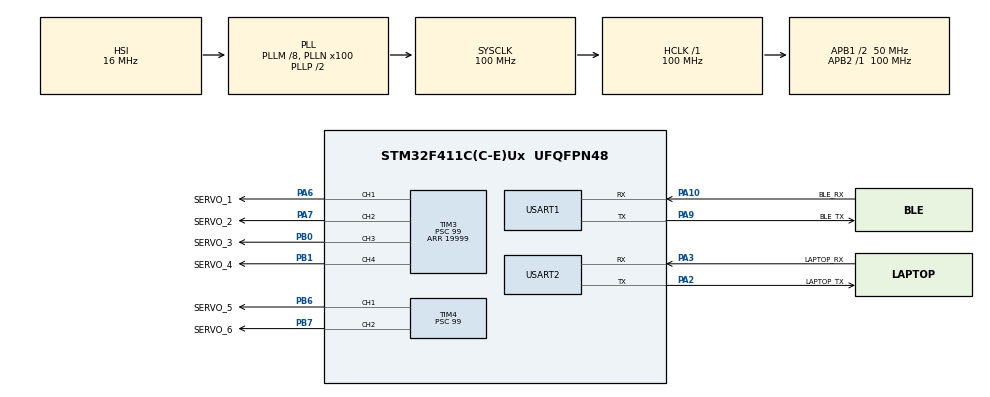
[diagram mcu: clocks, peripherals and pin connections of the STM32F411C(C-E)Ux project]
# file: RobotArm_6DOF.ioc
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Dma.Request0=USART2_RX
Dma.Request1=USART1_RX
Dma.USART1_RX.1.Direction=DMA_PERIPH_TO_MEMORY
Dma.USART1_RX.1.FIFOMode=DMA_FIFOMODE_DISABLE
Dma.USART1_RX.1.Instance=DMA2_Stream2
Dma.USART1_RX.1.MemDataAlignment=DMA_MDATAALIGN_BYTE
Dma.USART1_RX.1.MemInc=DMA_MINC_ENABLE
Dma.USART1_RX.1.Mode=DMA_CIRCULAR
Dma.USART1_RX.1.PeriphDataAlignment=DMA_PDATAALIGN_BYTE
Dma.USART1_RX.1.PeriphInc=DMA_PINC_DISABLE
Dma.USART1_RX.1.Priority=DMA_PRIORITY_HIGH
Dma.USART2_RX.0.Direction=DMA_PERIPH_TO_MEMORY
Dma.USART2_RX.0.FIFOMode=DMA_FIFOMODE_DISABLE
Dma.USART2_RX.0.Instance=DMA1_Stream5
Dma.USART2_RX.0.MemDataAlignment=DMA_MDATAALIGN_BYTE
Dma.USART2_RX.0.MemInc=DMA_MINC_ENABLE
Dma.USART2_RX.0.Mode=DMA_CIRCULAR
Dma.USART2_RX.0.PeriphDataAlignment=DMA_PDATAALIGN_BYTE
Dma.USART2_RX.0.PeriphInc=DMA_PINC_DISABLE
Dma.USART2_RX.0.Priority=DMA_PRIORITY_HIGH
Mcu.Family=STM32F4
Mcu.Name=STM32F411C(C-E)Ux
Mcu.Package=UFQFPN48
NVIC.DMA1_Stream5_IRQn=true\:0\:0\:false\:false\:true\:false\:true\:true
NVIC.DMA2_Stream2_IRQn=true\:0\:0\:false\:false\:true\:false\:true\:true
NVIC.PriorityGroup=NVIC_PRIORITYGROUP_4
NVIC.TIM2_IRQn=true\:0\:0\:false\:false\:true\:true\:true\:true
NVIC.USART1_IRQn=true\:0\:0\:false\:false\:true\:true\:true\:true
NVIC.USART2_IRQn=true\:0\:0\:false\:false\:true\:true\:true\:true
PA10.GPIO_Label=BLE_RX
PA10.Mode=Asynchronous
PA10.Signal=USART1_RX
PA13.Mode=Serial_Wire
PA13.Signal=SYS_JTMS-SWDIO
PA14.Mode=Serial_Wire
PA14.Signal=SYS_JTCK-SWCLK
PA2.GPIO_Label=LAPTOP_TX
PA2.Mode=Asynchronous
PA2.Signal=USART2_TX
PA3.GPIO_Label=LAPTOP_RX
PA3.Mode=Asynchronous
PA3.Signal=USART2_RX
PA6.GPIO_Label=SERVO_1
PA6.Signal=S_TIM3_CH1
PA7.GPIO_Label=SERVO_2
PA7.Signal=S_TIM3_CH2
PA9.GPIO_Label=BLE_TX
PA9.Mode=Asynchronous
PA9.Signal=USART1_TX
PB0.GPIO_Label=SERVO_3
PB0.Signal=S_TIM3_CH3
PB1.GPIO_Label=SERVO_4
PB1.Signal=S_TIM3_CH4
PB6.GPIO_Label=SERVO_5
PB6.Signal=S_TIM4_CH1
PB7.GPIO_Label=SERVO_6
PB7.Signal=S_TIM4_CH2
PH0\ -\ OSC_IN.Mode=HSE-External-Oscillator
PH0\ -\ OSC_IN.Signal=RCC_OSC_IN
PH1\ -\ OSC_OUT.Mode=HSE-External-Oscillator
PH1\ -\ OSC_OUT.Signal=RCC_OSC_OUT
ProjectManager.HeapSize=0x200
ProjectManager.StackSize=0x400
ProjectManager.TargetToolchain=MDK-ARM V5
RCC.48MHZClocksFreq_Value=50000000
RCC.AHBFreq_Value=100000000
RCC.APB1CLKDivider=RCC_HCLK_DIV2
RCC.APB1Freq_Value=50000000
RCC.APB1TimFreq_Value=100000000
RCC.APB2Freq_Value=100000000
RCC.APB2TimFreq_Value=100000000
RCC.CortexFreq_Value=100000000
RCC.HCLKFreq_Value=100000000
RCC.HSE_VALUE=25000000
RCC.HSI_VALUE=16000000
RCC.LSE_VALUE=32768
RCC.PLLM=8
RCC.PLLN=100
RCC.SYSCLKFreq_VALUE=100000000
RCC.SYSCLKSource=RCC_SYSCLKSOURCE_PLLCLK
RCC.VCOOutputFreq_Value=200000000
SH.S_TIM3_CH1.0=TIM3_CH1,PWM Generation1 CH1
SH.S_TIM3_CH2.0=TIM3_CH2,PWM Generation2 CH2
SH.S_TIM3_CH3.0=TIM3_CH3,PWM Generation3 CH3
SH.S_TIM3_CH4.0=TIM3_CH4,PWM Generation4 CH4
SH.S_TIM4_CH1.0=TIM4_CH1,PWM Generation1 CH1
SH.S_TIM4_CH2.0=TIM4_CH2,PWM Generation2 CH2
TIM2.AutoReloadPreload=TIM_AUTORELOAD_PRELOAD_ENABLE
TIM2.Period=99
TIM2.Prescaler=9999
TIM3.AutoReloadPreload=TIM_AUTORELOAD_PRELOAD_ENABLE
TIM3.Channel-PWM\ Generation1\ CH1=TIM_CHANNEL_1
TIM3.Channel-PWM\ Generation2\ CH2=TIM_CHANNEL_2
TIM3.Channel-PWM\ Generation3\ CH3=TIM_CHANNEL_3
TIM3.Channel-PWM\ Generation4\ CH4=TIM_CHANNEL_4
TIM3.Period=19999
TIM3.Prescaler=99
TIM3.Pulse-PWM\ Generation1\ CH1=1500
TIM3.Pulse-PWM\ Generation2\ CH2=1500
TIM3.Pulse-PWM\ Generation3\ CH3=1500
TIM3.Pulse-PWM\ Generation4\ CH4=1500
TIM4.AutoReloadPreload=TIM_AUTORELOAD_PRELOAD_ENABLE
TIM4.Channel-PWM\ Generation1\ CH1=TIM_CHANNEL_1
TIM4.Channel-PWM\ Generation2\ CH2=TIM_CHANNEL_2
TIM4.Period=19999
TIM4.Prescaler=99
TIM4.Pulse-PWM\ Generation1\ CH1=1500
TIM4.Pulse-PWM\ Generation2\ CH2=1500
USART1.VirtualMode=VM_ASYNC
USART2.VirtualMode=VM_ASYNC
VP_TIM2_VS_ClockSourceINT.Mode=Internal
board=custom

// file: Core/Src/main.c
/* USER CODE BEGIN Header */
/**
  ******************************************************************************
  * @file           : main.c
  * @brief          : Main program body
  ******************************************************************************
  * @attention
  *
  * Copyright (c) 2026 STMicroelectronics.
  * All rights reserved.
  *
  * This software is licensed under terms that can be found in the LICENSE file
  * in the root directory of this software component.
  * If no LICENSE file comes with this software, it is provided AS-IS.
  *
  ******************************************************************************
  */
/* USER CODE END Header */
#include "main.h"

/* USER CODE BEGIN Includes */
#include <stdio.h>
#include <string.h>

/* USER CODE END Includes */

/* USER CODE BEGIN PD */

#define SERVO_COUNT             6U
#define SERVO_NEUTRAL_DEG       90U
#define SERVO_MIN_PULSE_US      500U
#define SERVO_MAX_PULSE_US      2500U
#define SERVO_UPDATE_PERIOD_MS  20U
#define BLUETOOTH_BAUDRATE      9600 /* HC-06 UART baud rate confirmed by the user. */
#define BLUETOOTH_LINE_SIZE    40U
#define BLUETOOTH_IDLE_MS      100U

/* USER CODE END PD */

TIM_HandleTypeDef htim2;
TIM_HandleTypeDef htim3;
TIM_HandleTypeDef htim4;

UART_HandleTypeDef huart1;
UART_HandleTypeDef huart2;
DMA_HandleTypeDef hdma_usart1_rx;
DMA_HandleTypeDef hdma_usart2_rx;

/* USER CODE BEGIN PV */

/* Each servo starts DISABLED. PWM is enabled only after its first command. */
static TIM_HandleTypeDef *const servo_timers[SERVO_COUNT] = {
  &htim3, &htim3, &htim3, &htim3, &htim4, &htim4
};
static const uint32_t servo_channels[SERVO_COUNT] = {
  TIM_CHANNEL_1, TIM_CHANNEL_2, TIM_CHANNEL_3, TIM_CHANNEL_4,
  TIM_CHANNEL_1, TIM_CHANNEL_2
};
/* Adjust individually to match the real mechanical limits before assembly. */
/* Conservative limits for FIRST TEST only; widen after mechanical calibration. */
static const uint8_t servo_min_deg[SERVO_COUNT] = {0, 0, 0, 0, 0, 45};
static const uint8_t servo_max_deg[SERVO_COUNT] = {180, 180, 180, 180, 180, 135};
static uint8_t servo_enabled[SERVO_COUNT] = {0};
static uint8_t servo_current_deg[SERVO_COUNT] = {90, 135, 60, 90, 60, 90};
static uint8_t servo_target_deg[SERVO_COUNT] = {90, 90, 90, 90, 90, 90};

static char bluetooth_line[BLUETOOTH_LINE_SIZE];
static uint8_t bluetooth_line_length = 0;
static uint8_t bluetooth_line_overflow = 0;
static uint32_t bluetooth_last_byte_tick = 0;
static uint32_t servo_last_update = 0;

/* USER CODE END PV */

void SystemClock_Config(void);
static void MX_GPIO_Init(void);
static void MX_DMA_Init(void);
static void MX_TIM2_Init(void);
static void MX_TIM3_Init(void);
static void MX_TIM4_Init(void);
static void MX_USART1_UART_Init(void);
static void MX_USART2_UART_Init(void);
/* USER CODE BEGIN PFP */

static void Bluetooth_Send(const char *message);
static void Bluetooth_ProcessRx(void);
static void Bluetooth_FinishLine(void);
static void Bluetooth_HandleCommand(char *line);
static void Servo_Update(void);
static void Servo_WriteAngle(uint8_t index, uint8_t angle);
static uint8_t Servo_Enable(uint8_t index);

/* USER CODE END PFP */

/* USER CODE BEGIN 0 */

static void Bluetooth_Send(const char *message)
{
  HAL_UART_Transmit(&huart1, (uint8_t *)message, (uint16_t)strlen(message), 100);
}

static void Servo_WriteAngle(uint8_t index, uint8_t angle)
{
  /* TIM3/TIM4 tick at 1 MHz: one compare count = 1 microsecond. */
  uint32_t pulse = SERVO_MIN_PULSE_US +
    ((uint32_t)angle * (SERVO_MAX_PULSE_US - SERVO_MIN_PULSE_US) + 90U) / 180U;
  __HAL_TIM_SET_COMPARE(servo_timers[index], servo_channels[index], pulse);
}

static uint8_t Servo_Enable(uint8_t index)
{
  if (servo_enabled[index])
    return 1U;

  /* The servo's real position is unknown. Its first pulse is neutral (90 deg). */
  Servo_WriteAngle(index, servo_current_deg[index]);
  if (HAL_TIM_PWM_Start(servo_timers[index], servo_channels[index]) != HAL_OK)
    return 0U;

  servo_enabled[index] = 1U;
  return 1U;
}

static void Servo_Update(void)
{
  uint32_t now = HAL_GetTick();
  if ((uint32_t)(now - servo_last_update) < SERVO_UPDATE_PERIOD_MS)
    return;
  servo_last_update = now;

  for (uint8_t i = 0; i < SERVO_COUNT; i++)
  {
    if (!servo_enabled[i] || servo_current_deg[i] == servo_target_deg[i])
      continue;

    if (servo_current_deg[i] < servo_target_deg[i])
      servo_current_deg[i]++;
    else
      servo_current_deg[i]--;

    Servo_WriteAngle(i, servo_current_deg[i]);
  }
}

static char *SkipSpaces(char *s)
{
  while (*s == ' ' || *s == '\t')
    s++;
  return s;
}

static uint8_t IsEnd(const char *s)
{
  return *s == '\0';
}

static void Bluetooth_HandleCommand(char *line)
{
  char reply[80];
  char *p = SkipSpaces(line);

  /* Strip trailing spaces, so commands work with CR, LF or CRLF terminals. */
  size_t len = strlen(p);
  while (len > 0U && (p[len - 1U] == ' ' || p[len - 1U] == '\t'))
    p[--len] = '\0';
  if (len == 0U)
    return;

  if (strcmp(p, "HELP") == 0 || strcmp(p, "help") == 0)
  {
    Bluetooth_Send("J1 90  : set joint 1 to 90 deg\r\n");
    Bluetooth_Send("J1 +1  : increase joint 1 by 1 deg\r\n");
    Bluetooth_Send("J1 -1  : decrease joint 1 by 1 deg\r\n");
    Bluetooth_Send("STATUS | STOP | OFF 1 | OFF ALL | PING\r\n");
    return;
  }
  if (strcmp(p, "PING") == 0 || strcmp(p, "ping") == 0)
  {
    Bluetooth_Send("PONG\r\n");
    return;
  }
  if (strcmp(p, "STOP") == 0 || strcmp(p, "stop") == 0)
  {
    /* Hold the last commanded angle. This is NOT an emergency power cut. */
    for (uint8_t i = 0; i < SERVO_COUNT; i++)
      servo_target_deg[i] = servo_current_deg[i];
    Bluetooth_Send("OK STOP (holding position)\r\n");
    return;
  }
  if (strcmp(p, "STATUS") == 0 || strcmp(p, "status") == 0)
  {
    for (uint8_t i = 0; i < SERVO_COUNT; i++)
    {
      snprintf(reply, sizeof(reply), "J%u: %u -> %u, %s\r\n",
               (unsigned)(i + 1U), (unsigned)servo_current_deg[i],
               (unsigned)servo_target_deg[i], servo_enabled[i] ? "ON" : "OFF");
      Bluetooth_Send(reply);
    }
    return;
  }
  if (strncmp(p, "OFF ", 4) == 0 || strncmp(p, "off ", 4) == 0)
  {
    char *arg = SkipSpaces(p + 4);
    if (strcmp(arg, "ALL") == 0 || strcmp(arg, "all") == 0)
    {
      for (uint8_t i = 0; i < SERVO_COUNT; i++)
      {
        if (servo_enabled[i])
          HAL_TIM_PWM_Stop(servo_timers[i], servo_channels[i]);
        servo_enabled[i] = 0U;
        servo_current_deg[i] = SERVO_NEUTRAL_DEG;
        servo_target_deg[i] = SERVO_NEUTRAL_DEG;
      }
      Bluetooth_Send("OK OFF ALL (no holding torque)\r\n");
      return;
    }
    if (arg[0] >= '1' && arg[0] <= '6' && IsEnd(arg + 1))
    {
      uint8_t i = (uint8_t)(arg[0] - '1');
      if (servo_enabled[i])
        HAL_TIM_PWM_Stop(servo_timers[i], servo_channels[i]);
      servo_enabled[i] = 0U;
      servo_current_deg[i] = SERVO_NEUTRAL_DEG;
      servo_target_deg[i] = SERVO_NEUTRAL_DEG;
      snprintf(reply, sizeof(reply), "OK J%u OFF (no holding torque)\r\n",
               (unsigned)(i + 1U));
      Bluetooth_Send(reply);
      return;
    }
    Bluetooth_Send("ERR use OFF 1..6 or OFF ALL\r\n");
    return;
  }

  /* One joint per command. An explicit +/- means relative movement. */
  if ((p[0] == 'J' || p[0] == 'j') &&
      p[1] >= '1' && p[1] <= '6' &&
      (p[2] == ' ' || p[2] == '\t'))
  {
    uint8_t i = (uint8_t)(p[1] - '1');
    char *value_text = SkipSpaces(p + 3);
    int sign = 1;
    uint8_t relative = 0;
    if (*value_text == '+' || *value_text == '-')
    {
      relative = 1U;
      if (*value_text == '-')
        sign = -1;
      value_text++;
    }
    if (*value_text < '0' || *value_text > '9')
    {
      Bluetooth_Send("ERR missing angle\r\n");
      return;
    }
    int value = 0;
    while (*value_text >= '0' && *value_text <= '9')
    {
      value = value * 10 + (*value_text++ - '0');
      if (value > 180)
      {
        Bluetooth_Send("ERR angle magnitude must be 0..180\r\n");
        return;
      }
    }
    if (!IsEnd(SkipSpaces(value_text)))
    {
      Bluetooth_Send("ERR invalid angle text\r\n");
      return;
    }
    int target = relative ? (int)servo_target_deg[i] + sign * value : value;
    if (target < (int)servo_min_deg[i] || target > (int)servo_max_deg[i])
    {
      snprintf(reply, sizeof(reply), "ERR J%u allowed range %u..%u deg\r\n",
               (unsigned)(i + 1U), (unsigned)servo_min_deg[i],
               (unsigned)servo_max_deg[i]);
      Bluetooth_Send(reply);
      return;
    }

    if (!Servo_Enable(i))
    {
      Bluetooth_Send("ERR PWM start failed\r\n");
      return;
    }
    /* Only this joint may be in motion; the others hold their current angles. */
    for (uint8_t j = 0; j < SERVO_COUNT; j++)
      if (j != i)
        servo_target_deg[j] = servo_current_deg[j];
    servo_target_deg[i] = (uint8_t)target;

    snprintf(reply, sizeof(reply), "OK J%u target=%u deg\r\n",
             (unsigned)(i + 1U), (unsigned)target);
    Bluetooth_Send(reply);
    return;
  }
  Bluetooth_Send("ERR unknown command; send HELP\r\n");
}

static void Bluetooth_FinishLine(void)
{
  if (bluetooth_line_overflow)
    Bluetooth_Send("ERR command too long\r\n");
  else if (bluetooth_line_length != 0U)
  {
    bluetooth_line[bluetooth_line_length] = '\0';
    Bluetooth_HandleCommand(bluetooth_line);
  }
  bluetooth_line_length = 0U;
  bluetooth_line_overflow = 0U;
}

static void Bluetooth_ProcessRx(void)
{
  uint8_t ch;
  /* Same simple polling receive path as the successful BLE echo test. */
  if (HAL_UART_Receive(&huart1, &ch, 1U, 1U) == HAL_OK)
  {
    bluetooth_last_byte_tick = HAL_GetTick();
    if (ch == '\r' || ch == '\n')
    {
      Bluetooth_FinishLine();
    }
    else if (!bluetooth_line_overflow && ch >= 32U && ch <= 126U)
    {
      if (bluetooth_line_length < (BLUETOOTH_LINE_SIZE - 1U))
        bluetooth_line[bluetooth_line_length++] = (char)ch;
      else
        bluetooth_line_overflow = 1U;
    }
  }
  else if ((bluetooth_line_length != 0U || bluetooth_line_overflow) &&
           (uint32_t)(HAL_GetTick() - bluetooth_last_byte_tick) >= BLUETOOTH_IDLE_MS)
  {
    /* Phone apps may send an entire command without CR/LF. */
    Bluetooth_FinishLine();
  }
}

/* USER CODE END 0 */

int main(void)
{

  /* MCU Configuration--------------------------------------------------------*/

  /* Reset of all peripherals, Initializes the Flash interface and the Systick. */
  HAL_Init();

  /* Configure the system clock */
  SystemClock_Config();

  /* Initialize all configured peripherals */
  MX_GPIO_Init();
  MX_DMA_Init();
  MX_TIM2_Init();
  MX_TIM3_Init();
  MX_TIM4_Init();
  MX_USART1_UART_Init();
  MX_USART2_UART_Init();
  /* USER CODE BEGIN 2 */
	HAL_TIM_PWM_Start(&htim3, TIM_CHANNEL_1);
	HAL_TIM_PWM_Start(&htim3, TIM_CHANNEL_2);
	HAL_TIM_PWM_Start(&htim3, TIM_CHANNEL_3);
	HAL_TIM_PWM_Start(&htim3, TIM_CHANNEL_4);

	HAL_TIM_PWM_Start(&htim4, TIM_CHANNEL_1);
	HAL_TIM_PWM_Start(&htim4, TIM_CHANNEL_2);
  /* Do not actuate any joint automatically at boot. */

  servo_last_update = HAL_GetTick();
  huart1.Init.BaudRate = BLUETOOTH_BAUDRATE;
  if (HAL_UART_Init(&huart1) != HAL_OK)
    Error_Handler();
  Bluetooth_Send("RobotArm ready. Send PING, STATUS, or J1 90\r\n");
  /* USER CODE END 2 */

  /* Infinite loop */
  while (1)
  {

    /* USER CODE BEGIN 3 */

    Bluetooth_ProcessRx();
    Servo_Update();
  }
  /* USER CODE END 3 */
}

void SystemClock_Config(void)
{
  RCC_OscInitTypeDef RCC_OscInitStruct = {0};
  RCC_ClkInitTypeDef RCC_ClkInitStruct = {0};

  /** Configure the main internal regulator output voltage
  */
  __HAL_RCC_PWR_CLK_ENABLE();
  __HAL_PWR_VOLTAGESCALING_CONFIG(PWR_REGULATOR_VOLTAGE_SCALE1);

  /** Initializes the RCC Oscillators according to the specified parameters
  * in the RCC_OscInitTypeDef structure.
  */
  RCC_OscInitStruct.OscillatorType = RCC_OSCILLATORTYPE_HSI;
  RCC_OscInitStruct.HSIState = RCC_HSI_ON;
  RCC_OscInitStruct.HSICalibrationValue = RCC_HSICALIBRATION_DEFAULT;
  RCC_OscInitStruct.PLL.PLLState = RCC_PLL_ON;
  RCC_OscInitStruct.PLL.PLLSource = RCC_PLLSOURCE_HSI;
  RCC_OscInitStruct.PLL.PLLM = 8;
  RCC_OscInitStruct.PLL.PLLN = 100;
  RCC_OscInitStruct.PLL.PLLP = RCC_PLLP_DIV2;
  RCC_OscInitStruct.PLL.PLLQ = 4;
  if (HAL_RCC_OscConfig(&RCC_OscInitStruct) != HAL_OK)
  {
    Error_Handler();
  }

  /** Initializes the CPU, AHB and APB buses clocks
  */
  RCC_ClkInitStruct.ClockType = RCC_CLOCKTYPE_HCLK|RCC_CLOCKTYPE_SYSCLK
                              |RCC_CLOCKTYPE_PCLK1|RCC_CLOCKTYPE_PCLK2;
  RCC_ClkInitStruct.SYSCLKSource = RCC_SYSCLKSOURCE_PLLCLK;
  RCC_ClkInitStruct.AHBCLKDivider = RCC_SYSCLK_DIV1;
  RCC_ClkInitStruct.APB1CLKDivider = RCC_HCLK_DIV2;
  RCC_ClkInitStruct.APB2CLKDivider = RCC_HCLK_DIV1;

  if (HAL_RCC_ClockConfig(&RCC_ClkInitStruct, FLASH_LATENCY_3) != HAL_OK)
  {
    Error_Handler();
  }
}

static void MX_TIM2_Init(void)
{

  TIM_ClockConfigTypeDef sClockSourceConfig = {0};
  TIM_MasterConfigTypeDef sMasterConfig = {0};

  htim2.Instance = TIM2;
  htim2.Init.Prescaler = 9999;
  htim2.Init.CounterMode = TIM_COUNTERMODE_UP;
  htim2.Init.Period = 99;
  htim2.Init.ClockDivision = TIM_CLOCKDIVISION_DIV1;
  htim2.Init.AutoReloadPreload = TIM_AUTORELOAD_PRELOAD_ENABLE;
  if (HAL_TIM_Base_Init(&htim2) != HAL_OK)
  {
    Error_Handler();
  }
  sClockSourceConfig.ClockSource = TIM_CLOCKSOURCE_INTERNAL;
  if (HAL_TIM_ConfigClockSource(&htim2, &sClockSourceConfig) != HAL_OK)
  {
    Error_Handler();
  }
  sMasterConfig.MasterOutputTrigger = TIM_TRGO_RESET;
  sMasterConfig.MasterSlaveMode = TIM_MASTERSLAVEMODE_DISABLE;
  if (HAL_TIMEx_MasterConfigSynchronization(&htim2, &sMasterConfig) != HAL_OK)
  {
    Error_Handler();
  }

}

static void MX_TIM3_Init(void)
{

  TIM_MasterConfigTypeDef sMasterConfig = {0};
  TIM_OC_InitTypeDef sConfigOC = {0};

  htim3.Instance = TIM3;
  htim3.Init.Prescaler = 99;
  htim3.Init.CounterMode = TIM_COUNTERMODE_UP;
  htim3.Init.Period = 19999;
  htim3.Init.ClockDivision = TIM_CLOCKDIVISION_DIV1;
  htim3.Init.AutoReloadPreload = TIM_AUTORELOAD_PRELOAD_ENABLE;
  if (HAL_TIM_PWM_Init(&htim3) != HAL_OK)
  {
    Error_Handler();
  }
  sMasterConfig.MasterOutputTrigger = TIM_TRGO_RESET;
  sMasterConfig.MasterSlaveMode = TIM_MASTERSLAVEMODE_DISABLE;
  if (HAL_TIMEx_MasterConfigSynchronization(&htim3, &sMasterConfig) != HAL_OK)
  {
    Error_Handler();
  }
  sConfigOC.OCMode = TIM_OCMODE_PWM1;
  sConfigOC.Pulse = 1500;
  sConfigOC.OCPolarity = TIM_OCPOLARITY_HIGH;
  sConfigOC.OCFastMode = TIM_OCFAST_DISABLE;
  if (HAL_TIM_PWM_ConfigChannel(&htim3, &sConfigOC, TIM_CHANNEL_1) != HAL_OK)
  {
    Error_Handler();
  }
  if (HAL_TIM_PWM_ConfigChannel(&htim3, &sConfigOC, TIM_CHANNEL_2) != HAL_OK)
  {
    Error_Handler();
  }
  if (HAL_TIM_PWM_ConfigChannel(&htim3, &sConfigOC, TIM_CHANNEL_3) != HAL_OK)
  {
    Error_Handler();
  }
  if (HAL_TIM_PWM_ConfigChannel(&htim3, &sConfigOC, TIM_CHANNEL_4) != HAL_OK)
  {
    Error_Handler();
  }
  HAL_TIM_MspPostInit(&htim3);

}

static void MX_TIM4_Init(void)
{

  TIM_MasterConfigTypeDef sMasterConfig = {0};
  TIM_OC_InitTypeDef sConfigOC = {0};

  htim4.Instance = TIM4;
  htim4.Init.Prescaler = 99;
  htim4.Init.CounterMode = TIM_COUNTERMODE_UP;
  htim4.Init.Period = 19999;
  htim4.Init.ClockDivision = TIM_CLOCKDIVISION_DIV1;
  htim4.Init.AutoReloadPreload = TIM_AUTORELOAD_PRELOAD_ENABLE;
  if (HAL_TIM_PWM_Init(&htim4) != HAL_OK)
  {
    Error_Handler();
  }
  sMasterConfig.MasterOutputTrigger = TIM_TRGO_RESET;
  sMasterConfig.MasterSlaveMode = TIM_MASTERSLAVEMODE_DISABLE;
  if (HAL_TIMEx_MasterConfigSynchronization(&htim4, &sMasterConfig) != HAL_OK)
  {
    Error_Handler();
  }
  sConfigOC.OCMode = TIM_OCMODE_PWM1;
  sConfigOC.Pulse = 1500;
  sConfigOC.OCPolarity = TIM_OCPOLARITY_HIGH;
  sConfigOC.OCFastMode = TIM_OCFAST_DISABLE;
  if (HAL_TIM_PWM_ConfigChannel(&htim4, &sConfigOC, TIM_CHANNEL_1) != HAL_OK)
  {
    Error_Handler();
  }
  if (HAL_TIM_PWM_ConfigChannel(&htim4, &sConfigOC, TIM_CHANNEL_2) != HAL_OK)
  {
    Error_Handler();
  }
  HAL_TIM_MspPostInit(&htim4);

}

static void MX_USART1_UART_Init(void)
{

  huart1.Instance = USART1;
  huart1.Init.BaudRate = 115200;
  huart1.Init.WordLength = UART_WORDLENGTH_8B;
  huart1.Init.StopBits = UART_STOPBITS_1;
  huart1.Init.Parity = UART_PARITY_NONE;
  huart1.Init.Mode = UART_MODE_TX_RX;
  huart1.Init.HwFlowCtl = UART_HWCONTROL_NONE;
  huart1.Init.OverSampling = UART_OVERSAMPLING_16;
  if (HAL_UART_Init(&huart1) != HAL_OK)
  {
    Error_Handler();
  }

}

static void MX_USART2_UART_Init(void)
{

  huart2.Instance = USART2;
  huart2.Init.BaudRate = 115200;
  huart2.Init.WordLength = UART_WORDLENGTH_8B;
  huart2.Init.StopBits = UART_STOPBITS_1;
  huart2.Init.Parity = UART_PARITY_NONE;
  huart2.Init.Mode = UART_MODE_TX_RX;
  huart2.Init.HwFlowCtl = UART_HWCONTROL_NONE;
  huart2.Init.OverSampling = UART_OVERSAMPLING_16;
  if (HAL_UART_Init(&huart2) != HAL_OK)
  {
    Error_Handler();
  }

}

static void MX_DMA_Init(void)
{

  /* DMA controller clock enable */
  __HAL_RCC_DMA1_CLK_ENABLE();
  __HAL_RCC_DMA2_CLK_ENABLE();

  /* DMA interrupt init */
  /* DMA1_Stream5_IRQn interrupt configuration */
  HAL_NVIC_SetPriority(DMA1_Stream5_IRQn, 0, 0);
  HAL_NVIC_EnableIRQ(DMA1_Stream5_IRQn);
  /* DMA2_Stream2_IRQn interrupt configuration */
  HAL_NVIC_SetPriority(DMA2_Stream2_IRQn, 0, 0);
  HAL_NVIC_EnableIRQ(DMA2_Stream2_IRQn);

}

static void MX_GPIO_Init(void)
{

  /* GPIO Ports Clock Enable */
  __HAL_RCC_GPIOH_CLK_ENABLE();
  __HAL_RCC_GPIOA_CLK_ENABLE();
  __HAL_RCC_GPIOB_CLK_ENABLE();

}

void Error_Handler(void)
{
  __disable_irq();
  while (1)
  {
  }
}
